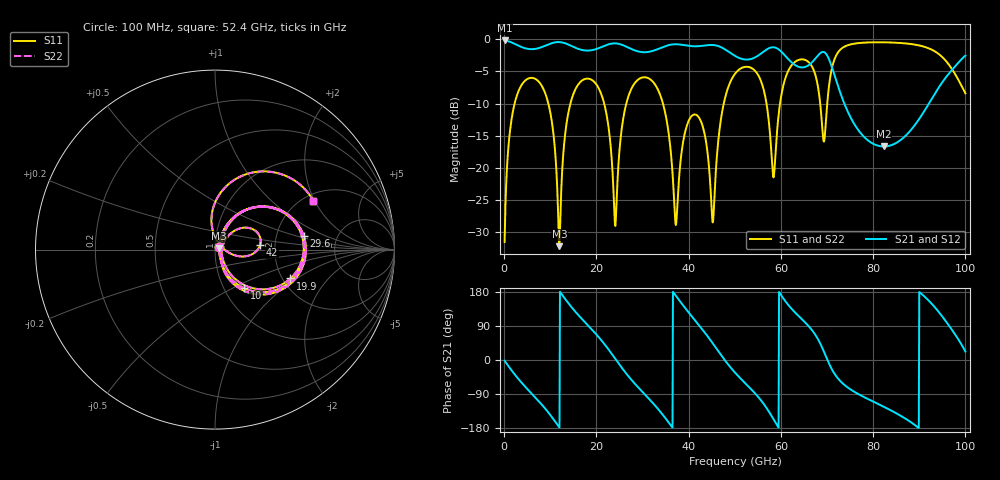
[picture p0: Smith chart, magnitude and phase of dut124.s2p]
! Touchstone file exported from HFSS 2026.1.0
!  File:  C:/ffzhzh/LocalFiles/Ansys_Project_Files/temp_train_TSV_RDL_124_1783637752_26216.aedt
!  Generated:  07:20:08 AM Jul 10, 2026
!  Design:  TSV_RDL
!  Project:  temp_train_TSV_RDL_124_1783637752_26216
! Variables:
!  h_bsmrdl = 4.84um
!  h_ox = 20um
!  h_rdl = 5um
!  h_sub = 86.08um
!  h_tmrdl = 3.51um
!  h_tsv = 86.08um
!  h_via = 3um
!  l_bsmrdl = 579.47um
!  l_sub = 4887.04um
!  l_tmrdl = 657.6um
!  m_sub = 200um
!  pitch = 47.41um
!  r_tsv = 11.74um
!  s_tmrdl = 10um
!  w_bsmrdl = 16.13um
!  w_sub = 500um
!  w_tmrdl = 23.28um
!  x_tsv_center1 = 669.24um
!  x_tsv_center2 = 1264.84um
!  x_tsv_center3 = 1945.72um
!  x_tsv_center4 = 2541.32um
!  x_tsv_center5 = 3222.2um
!  x_tsv_center6 = 3817.8um
# GHz S MA R 50.000000
! Terminal data exported
! Port[1] = TM_RDL1_1_T1
! Port[2] = TM_RDL5_1_T1
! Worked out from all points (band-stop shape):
!   1000 points, 100 MHz to 100 GHz, reference 50 ohm
!   highest |S21| = -0.18 dB at 100 MHz (marker M1); lowest = -16.7 dB at 82.3 GHz (marker M2)
!   |S21| within 3 dB of the highest: start of sweep to 61.74 GHz; 67.26 GHz to 70.48 GHz (3.225 GHz wide, 4.68 % of centre) (the widest 2 of 3)
!   lowest |S11| = -32.2 dB at 12 GHz (marker M3), VSWR 1.05, Z = 52.4 + j0.709 ohm
!   |S11| at or under -10 dB: 9.582 GHz to 14.36 GHz (4.783 GHz wide, 39.9 % of centre); 21.69 GHz to 26.48 GHz (4.797 GHz wide, 19.9 % of centre); 34.43 GHz to 47.61 GHz (13.18 GHz wide, 32.1 % of centre) (the widest 3 of 6)
!   |S22| runs from -32.2 to -0.5 dB; largest |S21 - S12| = 4.3e-13
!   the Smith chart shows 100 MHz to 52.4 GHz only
!   S11 on the Smith chart (normalised r, x): 100 MHz: 1.04, +0.03; 10 GHz: 1.24, -0.58; 19.9 GHz: 2.21, -0.89; 29.6 GHz: 2.86, +0.60; 42 GHz: 1.67, +0.09; 52.4 GHz: 2.25, +1.95
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0.1  0.02652 38.4  0.9796 -1.8  0.9796 -1.8  0.02652 38.4
! Gamma 0 0 0 0
! Port Impedance 50 0 50 0
3.2  0.402 34.7  0.8891 -51.7  0.8891 -51.7  0.402 34.7
10  0.2698 -52.9  0.9244 -145.1  0.9244 -145.1  0.2698 -52.9
12  0.0246 15.9  0.9515 -178.4  0.9515 -178.4  0.02448 16.0
16.8  0.4754 16.7  0.8273 109.0  0.8273 109.0  0.4754 16.7
19.9  0.4503 -20.9  0.8386 68.6  0.8386 68.6  0.4502 -20.9
24.1  0.03531 5.0  0.9297 3.1  0.9297 3.1  0.03516 5.1
29.6  0.4998 9.0  0.7976 -79.2  0.7976 -79.2  0.4998 9.1
33.4  0.402 -37.2  0.8418 -129.7  0.8418 -129.7  0.4021 -37.1
37.2  0.03595 -13.5  0.9154 170.0  0.9154 170.0  0.03619 -13.5
42  0.2527 5.8  0.8833 95.6  0.8833 95.6  0.2528 5.8
45.2  0.03769 34.4  0.9031 44.3  0.9031 44.3  0.03826 34.5
50.1  0.5421 52.6  0.7414 -33.9  0.7414 -33.9  0.542 52.6
52.4  0.6113 26.4  0.6958 -62.9  0.6958 -62.9  0.6113 26.4
59.1  0.1795 70.7  0.8527 -170.4  0.8527 -170.4  0.1802 70.3
66.7  0.6182 -5.6  0.6598 79.4  0.6598 79.4  0.6182 -5.7
69.3  0.1601 15.0  0.7966 22.7  0.7966 22.7  0.16 15.0
71.7  0.7112 40.4  0.5163 -37.6  0.5163 -37.6  0.7113 40.3
82.3  0.9476 -33.4  0.1467 -123.4  0.1467 -123.4  0.9476 -33.5
83.4  0.9456 -39.6  0.1482 -130.1  0.1482 -130.1  0.9457 -39.7
95  0.727 -149.1  0.4639 114.6  0.4639 114.6  0.727 -149.1
100  0.3795 119.0  0.7461 22.3  0.7461 22.3  0.3794 119.2
